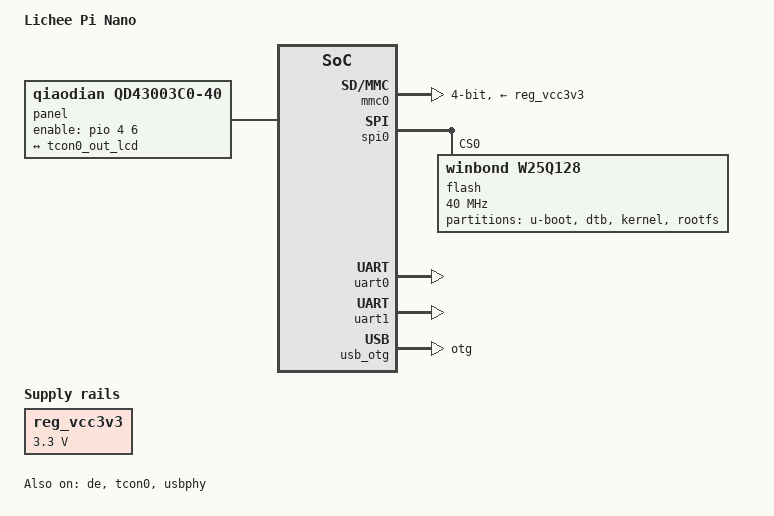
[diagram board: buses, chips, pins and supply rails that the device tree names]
// SPDX-License-Identifier: (GPL-2.0+ OR X11)
/*
 * Copyright 2018 Icenowy Zheng <icenowy@aosc.io>
 */

/dts-v1/;
#include "suniv-f1c100s.dtsi"

#include <dt-bindings/gpio/gpio.h>

/ {
	model = "Lichee Pi Nano";
	compatible = "licheepi,licheepi-nano", "allwinner,suniv-f1c100s",
		     "allwinner,suniv";

	aliases {
		serial0 = &uart0;
		spi0 = &spi0;
	};

	chosen {
		stdout-path = "serial0:115200n8";
	};

	panel: panel {
		compatible = "qiaodian,qd43003c0-40", "simple-panel";
		#address-cells = <1>;
		#size-cells = <0>;
		enable-gpios = <&pio 4 6 GPIO_ACTIVE_HIGH>;

		port@0 {
			reg = <0>;
			#address-cells = <1>;
			#size-cells = <0>;

			panel_input: endpoint@0 {
				reg = <0>;
				remote-endpoint = <&tcon0_out_lcd>;
			};
		};
	};

	reg_vcc3v3: vcc3v3 {
		compatible = "regulator-fixed";
		regulator-name = "vcc3v3";
		regulator-min-microvolt = <3300000>;
		regulator-max-microvolt = <3300000>;
	};
};

&de {
	status = "okay";
};

&mmc0 {
	vmmc-supply = <&reg_vcc3v3>;
	bus-width = <4>;
	broken-cd;
	status = "okay";
};

&otg_sram {
	status = "okay";
};

&spi0 {
	pinctrl-names = "default";
	pinctrl-0 = <&spi0_pins_a>;
	status = "okay";

	flash@0 {
		#address-cells = <1>;
		#size-cells = <1>;
		compatible = "winbond,w25q128", "jedec,spi-nor";
		/*		compatible = "spin-nand", "spi-nand";*/
		/*compatible = "linux,spidev";		*/
		reg = <0>;
		spi-max-frequency = <40000000>;
		

	partitions {
		compatible = "fixed-partitions";
		#address-cells = <1>;
		#size-cells = <1>;

            partition@0 {
                label = "u-boot";
                reg = <0x000000 0x100000>;
                read-only;
            };

            partition@100000 {
                label = "dtb";
                reg = <0x100000 0x10000>;
                read-only;
            };

            partition@110000 {
                label = "kernel";
                reg = <0x110000 0x400000>;
                read-only;
            };

            partition@510000 {
                label = "rootfs";
                reg = <0x510000 0xAF0000>;
            };


	};

	};
	
};

&tcon0 {
	pinctrl-names = "default";
	pinctrl-0 = <&lcd_rgb666_pins>;
	status = "okay";
};

&tcon0_out {
	tcon0_out_lcd: endpoint@0 {
		reg = <0>;
		remote-endpoint = <&panel_input>;
	};
};

&uart0 {
	pinctrl-names = "default";
	pinctrl-0 = <&uart0_pins_a>;
	status = "okay";
};
&uart1 {
	status = "okay";
};

&usb_otg {
	dr_mode = "otg";
	status = "okay";
};

&usbphy {
	usb0_id_det-gpio = <&pio 4 2 GPIO_ACTIVE_HIGH>; /* PE2 */
	status = "okay";
};
